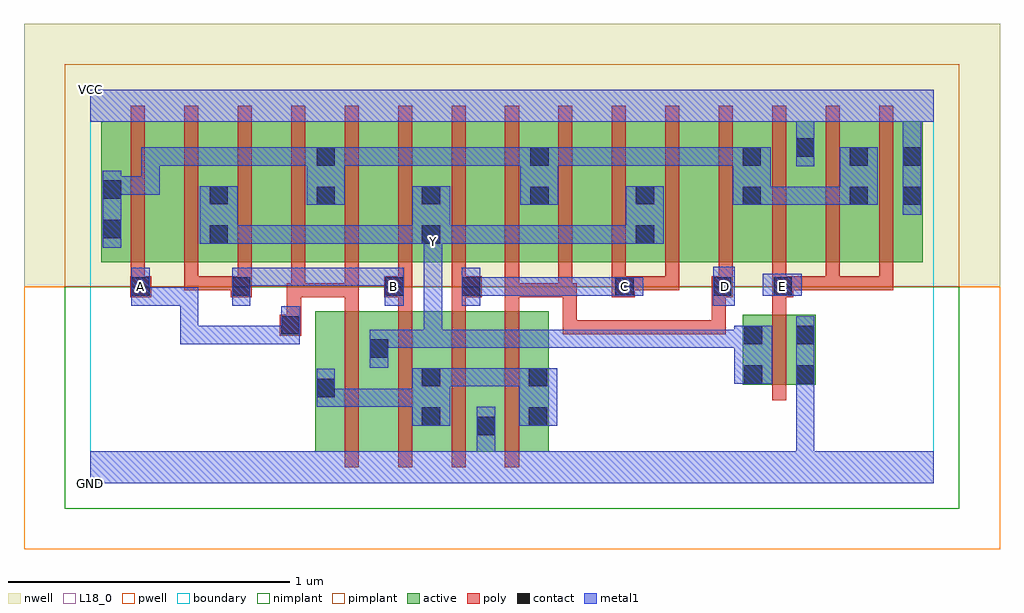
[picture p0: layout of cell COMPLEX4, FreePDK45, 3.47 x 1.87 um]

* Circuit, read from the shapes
.subckt COMPLEX4 A B C D E GND VCC Y
M1 Y A n1 VSUBS nfet w=0.5u l=0.05u
M2 n1 B Y VSUBS nfet w=0.5u l=0.05u
M3 GND C n1 VSUBS nfet w=0.5u l=0.05u
M4 n1 D GND VSUBS nfet w=0.5u l=0.05u
M5 GND E Y VSUBS nfet w=0.25u l=0.05u
M6 n2 A n3 n4 pfet w=0.5u l=0.05u
M7 Y B n2 n4 pfet w=0.5u l=0.05u
M8 n5 B Y n4 pfet w=0.5u l=0.05u
M9 n3 A n5 n4 pfet w=0.5u l=0.05u
M10 n6 A n3 n4 pfet w=0.5u l=0.05u
M11 Y B n6 n4 pfet w=0.5u l=0.05u
M12 n7 C Y n4 pfet w=0.5u l=0.05u
M13 n3 D n7 n4 pfet w=0.5u l=0.05u
M14 n8 D n3 n4 pfet w=0.5u l=0.05u
M15 Y C n8 n4 pfet w=0.5u l=0.05u
M16 n9 C Y n4 pfet w=0.5u l=0.05u
M17 n3 D n9 n4 pfet w=0.5u l=0.05u
M18 VCC E n3 n4 pfet w=0.5u l=0.05u m=3
.ends

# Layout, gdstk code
import gdstk
lib = gdstk.Library(unit=1e-6, precision=1e-09)
def R(c, l, rs):  # rectangles x0, y0, x1, y1
    for r in rs: c.add(gdstk.rectangle(r[:2], r[2:], *l))
def A(c, l, x, y, w, h, nx, ny, dx, dy):  # array of equal rectangles
    R(c, l, [(x+i*dx, y+j*dy, x+i*dx+w, y+j*dy+h) for i in range(nx) for j in range(ny)])
active = (1, 0)
pwell = (2, 0)
nwell = (3, 0)
nimplant = (4, 0)
pimplant = (5, 0)
poly = (9, 0)
contact = (10, 0)
metal1 = (11, 0)
L18_0 = (18, 0)
boundary = (235, 0)

complex4 = lib.new_cell('COMPLEX4')
A(complex4, active, 0.04, 0.787, 0.225, 0.5, 3, 1, 0.38, 0)
A(complex4, active, 2.315, 0.787, 0.265, 0.5, 3, 1, 0.19, 0)
R(complex4, active, [(0.8,0.112,1.065,0.612), (0.99,0.112,1.25,0.612), (1.175,0.112,1.445,0.612), (1.37,0.112,1.63,0.612), (1.37,0.112,1.445,0.55), (0.8,0.145,0.875,0.612), (0.99,0.145,1.065,0.592), (1.175,0.145,1.25,0.592), (1.555,0.145,1.63,0.612), (2.32,0.35,2.395,0.6), (2.32,0.35,2.58,0.6), (2.505,0.35,2.58,0.6), (0.04,0.787,0.145,1.2), (0.265,0.787,0.495,1.287), (0.42,0.787,0.495,1.07), (0.645,0.787,0.875,1.287), (0.8,0.787,0.875,1.2), (1.025,0.787,1.25,1.287), (1.175,0.787,1.405,1.287), (1.175,0.787,1.25,1.07), (1.405,0.787,1.635,1.287), (1.56,0.787,1.635,1.2), (1.56,0.787,1.785,1.287), (1.785,0.787,2.01,1.287), (1.935,0.787,2.165,1.287), (1.935,0.787,2.01,1.07), (2.165,0.787,2.39,1.287), (2.315,0.787,2.39,1.2), (2.505,0.787,2.58,1.287), (2.695,0.787,2.77,1.2), (2.885,0.787,2.96,1.287)])
R(complex4, pwell, [(-0.235,-0.235,3.235,0.7)])
R(complex4, nwell, [(-0.235,0.7,3.235,1.635)])
R(complex4, nimplant, [(-0.09,-0.09,3.09,0.7)])
R(complex4, pimplant, [(-0.09,0.7,3.09,1.49)])
A(complex4, poly, 0.905, 0.057, 0.05, 0.61, 4, 1, 0.19, 0)
A(complex4, poly, 0.905, 0.617, 0.05, 0.095, 4, 1, 0.19, 0)
A(complex4, poly, 0.145, 0.687, 0.05, 0.095, 3, 1, 0.19, 0)
A(complex4, poly, 1.855, 0.687, 0.05, 0.095, 6, 1, 0.19, 0)
A(complex4, poly, 0.145, 0.732, 0.05, 0.61, 15, 1, 0.19, 0)
R(complex4, poly, [(2.425,0.295,2.475,0.655), (0.675,0.525,0.75,0.6), (1.68,0.53,1.73,0.58), (1.68,0.53,1.73,0.712), (1.68,0.53,1.885,0.58), (1.835,0.53,1.885,0.58), (1.835,0.53,1.885,0.58), (1.835,0.53,1.885,0.58), (1.835,0.53,2.127,0.58), (2.077,0.53,2.127,0.58), (2.077,0.53,2.127,0.58), (2.077,0.53,2.127,0.58), (2.077,0.53,2.26,0.58), (2.21,0.53,2.26,0.58), (2.21,0.53,2.26,0.58), (2.21,0.53,2.26,0.58), (2.21,0.53,2.26,0.712), (0.7,0.55,0.75,0.712), (2.425,0.605,2.475,0.712), (0.142,0.662,0.217,0.737), (0.5,0.662,0.575,0.737), (0.7,0.662,0.75,0.712), (0.7,0.662,0.75,0.712), (0.7,0.662,0.765,0.712), (0.715,0.662,0.955,0.712), (0.715,0.662,0.765,0.782), (0.905,0.662,0.955,0.712), (0.905,0.662,0.955,0.712), (0.905,0.662,0.955,0.712), (0.905,0.662,0.955,0.782), (1.045,0.662,1.145,0.737), (1.285,0.662,1.392,0.737), (1.475,0.662,1.525,0.712), (1.475,0.662,1.525,0.712), (1.475,0.662,1.525,0.712), (1.475,0.662,1.715,0.712), (1.475,0.662,1.525,0.782), (1.665,0.662,1.715,0.712), (1.665,0.662,1.715,0.712), (1.665,0.662,1.715,0.782), (1.665,0.662,1.73,0.712), (1.855,0.662,1.937,0.737), (2.21,0.662,2.26,0.712), (2.21,0.662,2.26,0.712), (2.21,0.662,2.285,0.737), (2.425,0.662,2.5,0.737), (0.335,0.687,0.385,0.737), (0.335,0.687,0.55,0.737), (0.5,0.687,0.55,0.737), (0.5,0.687,0.55,0.737), (1.095,0.687,1.145,0.782), (1.285,0.687,1.335,0.782), (1.887,0.687,2.095,0.737), (2.045,0.687,2.095,0.737), (2.045,0.687,2.095,0.737), (2.045,0.687,2.095,0.737), (2.45,0.687,2.665,0.737), (2.615,0.687,2.665,0.737), (2.615,0.687,2.665,0.737), (2.615,0.687,2.665,0.737), (2.615,0.687,2.855,0.737), (2.805,0.687,2.855,0.737), (2.805,0.687,2.855,0.737), (2.805,0.687,2.855,0.737)])
R(complex4, contact, [(1.375,0.172,1.44,0.237), (1.18,0.205,1.245,0.27), (1.56,0.205,1.625,0.27), (0.805,0.307,0.87,0.372), (1.18,0.345,1.245,0.41), (1.56,0.345,1.625,0.41), (2.325,0.355,2.39,0.42), (2.51,0.355,2.575,0.42), (0.995,0.447,1.06,0.512), (2.325,0.495,2.39,0.56), (2.51,0.495,2.575,0.56), (0.68,0.53,0.745,0.595), (0.147,0.667,0.212,0.732), (0.505,0.667,0.57,0.732), (1.05,0.667,1.115,0.732), (1.322,0.667,1.387,0.732), (1.867,0.667,1.932,0.732), (2.215,0.667,2.28,0.732), (2.43,0.667,2.495,0.732), (0.425,0.852,0.49,0.917), (1.18,0.852,1.245,0.917), (1.94,0.852,2.005,0.917), (0.045,0.872,0.11,0.937), (0.805,0.99,0.87,1.055), (1.565,0.99,1.63,1.055), (2.32,0.99,2.385,1.055), (2.7,0.99,2.765,1.055), (2.89,0.99,2.955,1.055), (0.425,0.992,0.49,1.057), (1.18,0.992,1.245,1.057), (1.94,0.992,2.005,1.057), (0.045,1.012,0.11,1.077), (0.805,1.13,0.87,1.195), (1.565,1.13,1.63,1.195), (2.32,1.13,2.385,1.195), (2.7,1.13,2.765,1.195), (2.89,1.13,2.955,1.195), (2.51,1.162,2.575,1.227)])
A(complex4, metal1, 1.695, 0.482, 0.065, 0.065, 1, 3, 0, 0.185)
A(complex4, metal1, 1.695, 0.482, 0.137, 0.065, 1, 3, 0, 0.185)
A(complex4, metal1, 1.767, 0.482, 0.065, 0.065, 1, 3, 0, 0.185)
A(complex4, metal1, 1.007, 0.852, 0.203, 0.065, 3, 1, 0.38, 0)
R(complex4, metal1, [(0,0,3,0.115), (1.375,0.05,1.44,0.202), (2.51,0.05,2.575,0.115), (2.51,0.05,2.575,0.115), (2.51,0.05,2.575,0.385), (1.375,0.137,1.44,0.202), (1.375,0.137,1.44,0.202), (1.375,0.137,1.44,0.272), (1.145,0.205,1.28,0.41), (1.525,0.205,1.66,0.41), (0.805,0.272,0.87,0.337), (0.805,0.272,0.87,0.337), (0.805,0.272,0.87,0.407), (0.805,0.272,1.06,0.337), (0.995,0.272,1.06,0.337), (0.995,0.272,1.06,0.337), (0.995,0.272,1.06,0.337), (0.995,0.272,1.21,0.337), (2.51,0.32,2.575,0.595), (2.51,0.32,2.575,0.385), (2.51,0.32,2.575,0.385), (2.51,0.32,2.575,0.397), (2.51,0.332,2.575,0.397), (1.215,0.345,1.452,0.41), (1.387,0.345,1.452,0.41), (1.387,0.345,1.452,0.41), (1.387,0.345,1.452,0.41), (1.387,0.345,1.59,0.41), (1.525,0.345,1.59,0.41), (1.525,0.345,1.59,0.41), (2.29,0.355,2.425,0.56), (0.995,0.412,1.06,0.547), (0.995,0.482,1.25,0.547), (1.185,0.482,1.25,0.547), (1.185,0.482,1.25,0.547), (1.185,0.482,1.252,0.547), (1.187,0.482,1.417,0.547), (1.187,0.482,1.252,0.857), (1.352,0.482,1.417,0.547), (1.352,0.482,1.417,0.547), (1.352,0.482,1.417,0.547), (1.352,0.482,1.59,0.547), (1.525,0.482,1.59,0.547), (1.525,0.482,1.665,0.547), (1.6,0.482,1.665,0.547), (1.6,0.482,1.76,0.547), (1.767,0.482,1.97,0.547), (1.905,0.482,1.97,0.547), (1.905,0.482,1.97,0.547), (1.905,0.482,1.97,0.547), (1.905,0.482,2.107,0.547), (2.042,0.482,2.107,0.547), (2.042,0.482,2.107,0.547), (2.042,0.482,2.107,0.547), (2.042,0.482,2.28,0.547), (2.215,0.482,2.28,0.547), (2.215,0.482,2.355,0.547), (0.32,0.495,0.385,0.56), (0.32,0.495,0.525,0.56), (0.32,0.495,0.385,0.697), (0.46,0.495,0.525,0.56), (0.46,0.495,0.67,0.56), (0.605,0.495,0.67,0.56), (0.605,0.495,0.67,0.56), (0.605,0.495,0.67,0.56), (0.605,0.495,0.745,0.56), (0.68,0.495,0.745,0.63), (0.147,0.632,0.212,0.767), (0.147,0.632,0.247,0.697), (0.182,0.632,0.247,0.697), (0.182,0.632,0.385,0.697), (0.32,0.632,0.385,0.697), (0.32,0.632,0.385,0.697), (0.32,0.632,0.385,0.697), (0.505,0.632,0.57,0.767), (1.047,0.632,1.115,0.767), (1.322,0.632,1.387,0.767), (2.215,0.632,2.292,0.77), (1.322,0.667,1.417,0.732), (1.352,0.667,1.417,0.732), (1.352,0.667,1.59,0.732), (1.525,0.667,1.59,0.732), (1.525,0.667,1.59,0.732), (1.525,0.667,1.59,0.732), (1.525,0.667,1.76,0.732), (1.767,0.667,1.897,0.732), (1.832,0.667,1.967,0.732), (2.392,0.667,2.53,0.745), (0.505,0.702,0.697,0.767), (0.632,0.702,0.697,0.767), (0.632,0.702,0.707,0.767), (0.642,0.702,0.707,0.767), (0.642,0.702,0.887,0.767), (0.822,0.702,0.887,0.767), (0.822,0.702,0.887,0.767), (0.822,0.702,0.887,0.767), (0.822,0.702,1.072,0.767), (1.007,0.702,1.072,0.767), (1.007,0.702,1.112,0.767), (1.187,0.792,1.252,0.927), (0.045,0.837,0.11,1.112), (0.39,0.852,0.525,1.057), (0.46,0.852,0.525,0.917), (0.46,0.852,0.525,0.917), (0.46,0.852,0.697,0.917), (0.632,0.852,0.697,0.917), (0.632,0.852,0.707,0.917), (0.642,0.852,0.707,0.917), (0.642,0.852,0.922,0.917), (0.857,0.852,0.922,0.917), (0.857,0.852,0.922,0.917), (0.857,0.852,0.922,0.917), (0.857,0.852,1.072,0.917), (1.007,0.852,1.072,0.917), (1.145,0.852,1.21,0.917), (1.145,0.852,1.21,0.917), (1.145,0.852,1.28,1.057), (1.187,0.852,1.252,0.917), (1.215,0.852,1.452,0.917), (1.387,0.852,1.452,0.917), (1.387,0.852,1.452,0.917), (1.387,0.852,1.452,0.917), (1.525,0.852,1.59,0.917), (1.525,0.852,1.59,0.917), (1.525,0.852,1.59,0.917), (1.525,0.852,1.76,0.917), (1.905,0.852,1.97,0.917), (1.905,0.852,1.97,0.917), (1.905,0.852,2.04,1.057), (2.89,0.955,2.955,1.23), (0.77,0.99,0.905,1.195), (1.53,0.99,1.665,1.195), (2.285,0.99,2.42,1.195), (2.355,0.99,2.557,1.055), (2.492,0.99,2.557,1.055), (2.492,0.99,2.557,1.055), (2.492,0.99,2.557,1.055), (2.492,0.99,2.73,1.055), (2.665,0.99,2.73,1.055), (2.665,0.99,2.73,1.055), (2.665,0.99,2.8,1.195), (0.045,1.027,0.11,1.092), (0.045,1.027,0.11,1.092), (0.045,1.027,0.247,1.092), (0.182,1.027,0.247,1.092), (0.182,1.027,0.247,1.195), (2.51,1.127,2.575,1.262), (0.182,1.13,0.247,1.195), (0.182,1.13,0.385,1.195), (0.32,1.13,0.385,1.195), (0.32,1.13,0.522,1.195), (0.457,1.13,0.522,1.195), (0.457,1.13,0.522,1.195), (0.457,1.13,0.522,1.195), (0.457,1.13,0.697,1.195), (0.632,1.13,0.697,1.195), (0.632,1.13,0.707,1.195), (0.642,1.13,0.707,1.195), (0.642,1.13,0.835,1.195), (0.84,1.13,0.905,1.195), (0.84,1.13,0.905,1.195), (0.84,1.13,1.072,1.195), (1.007,1.13,1.072,1.195), (1.007,1.13,1.072,1.195), (1.007,1.13,1.072,1.195), (1.007,1.13,1.21,1.195), (1.145,1.13,1.21,1.195), (1.145,1.13,1.417,1.195), (1.352,1.13,1.417,1.195), (1.352,1.13,1.417,1.195), (1.352,1.13,1.417,1.195), (1.352,1.13,1.595,1.195), (1.53,1.13,1.595,1.195), (1.53,1.13,1.595,1.195), (1.6,1.13,1.76,1.195), (1.695,1.13,1.76,1.195), (1.695,1.13,1.832,1.195), (1.767,1.13,1.832,1.195), (1.767,1.13,1.97,1.195), (1.905,1.13,1.97,1.195), (1.905,1.13,1.97,1.195), (1.905,1.13,1.97,1.195), (1.905,1.13,2.142,1.195), (2.077,1.13,2.142,1.195), (2.077,1.13,2.177,1.195), (2.112,1.13,2.177,1.195), (2.112,1.13,2.177,1.195), (2.112,1.13,2.177,1.195), (2.112,1.13,2.32,1.195), (2.255,1.13,2.32,1.195), (2.255,1.13,2.35,1.195), (2.89,1.165,2.955,1.35), (2.51,1.197,2.575,1.35), (0,1.285,3,1.4)])
A(complex4, L18_0, 1.695, 0.482, 0.065, 0.065, 1, 3, 0, 0.185)
A(complex4, L18_0, 1.695, 0.482, 0.137, 0.065, 1, 3, 0, 0.185)
A(complex4, L18_0, 1.767, 0.482, 0.065, 0.065, 1, 3, 0, 0.185)
A(complex4, L18_0, 1.007, 0.852, 0.203, 0.065, 3, 1, 0.38, 0)
R(complex4, L18_0, [(0,0,3,0.115), (1.375,0.05,1.44,0.202), (2.51,0.05,2.575,0.115), (2.51,0.05,2.575,0.115), (2.51,0.05,2.575,0.385), (1.375,0.137,1.44,0.272), (1.375,0.137,1.44,0.202), (1.375,0.137,1.44,0.202), (2.51,0.32,2.575,0.385), (2.51,0.32,2.575,0.385), (2.51,0.32,2.575,0.397), (2.51,0.32,2.575,0.595), (2.51,0.332,2.575,0.397), (2.29,0.355,2.425,0.56), (0.995,0.412,1.06,0.547), (0.995,0.482,1.25,0.547), (1.185,0.482,1.25,0.547), (1.185,0.482,1.25,0.547), (1.185,0.482,1.252,0.547), (1.187,0.482,1.252,0.857), (1.187,0.482,1.417,0.547), (1.352,0.482,1.417,0.547), (1.352,0.482,1.417,0.547), (1.352,0.482,1.417,0.547), (1.352,0.482,1.59,0.547), (1.525,0.482,1.59,0.547), (1.525,0.482,1.665,0.547), (1.6,0.482,1.665,0.547), (1.6,0.482,1.76,0.547), (1.767,0.482,1.97,0.547), (1.905,0.482,1.97,0.547), (1.905,0.482,1.97,0.547), (1.905,0.482,1.97,0.547), (1.905,0.482,2.107,0.547), (2.042,0.482,2.107,0.547), (2.042,0.482,2.107,0.547), (2.042,0.482,2.107,0.547), (2.042,0.482,2.28,0.547), (2.215,0.482,2.28,0.547), (2.215,0.482,2.355,0.547), (0.32,0.495,0.385,0.56), (0.32,0.495,0.385,0.697), (0.32,0.495,0.525,0.56), (0.46,0.495,0.525,0.56), (0.46,0.495,0.67,0.56), (0.605,0.495,0.67,0.56), (0.605,0.495,0.67,0.56), (0.605,0.495,0.67,0.56), (0.605,0.495,0.745,0.56), (0.68,0.495,0.745,0.63), (0.147,0.632,0.212,0.767), (0.147,0.632,0.247,0.697), (0.182,0.632,0.247,0.697), (0.182,0.632,0.385,0.697), (0.32,0.632,0.385,0.697), (0.32,0.632,0.385,0.697), (0.32,0.632,0.385,0.697), (0.505,0.632,0.57,0.767), (1.047,0.632,1.115,0.767), (1.322,0.632,1.387,0.767), (2.215,0.632,2.292,0.77), (0.147,0.667,0.212,0.732), (1.047,0.667,1.112,0.732), (1.322,0.667,1.417,0.732), (1.352,0.667,1.417,0.732), (1.352,0.667,1.59,0.732), (1.525,0.667,1.59,0.732), (1.525,0.667,1.59,0.732), (1.525,0.667,1.59,0.732), (1.525,0.667,1.76,0.732), (1.767,0.667,1.897,0.732), (1.832,0.667,1.967,0.732), (1.867,0.667,1.932,0.732), (2.227,0.667,2.292,0.732), (2.392,0.667,2.53,0.745), (2.427,0.667,2.492,0.732), (0.505,0.702,0.697,0.767), (0.632,0.702,0.697,0.767), (0.632,0.702,0.707,0.767), (0.642,0.702,0.707,0.767), (0.642,0.702,0.887,0.767), (0.822,0.702,0.887,0.767), (0.822,0.702,0.887,0.767), (0.822,0.702,0.887,0.767), (0.822,0.702,1.072,0.767), (1.007,0.702,1.072,0.767), (1.007,0.702,1.112,0.767), (1.187,0.792,1.252,0.927), (1.187,0.827,1.252,0.892), (0.39,0.852,0.525,1.057), (0.46,0.852,0.525,0.917), (0.46,0.852,0.525,0.917), (0.46,0.852,0.697,0.917), (0.632,0.852,0.697,0.917), (0.632,0.852,0.707,0.917), (0.642,0.852,0.707,0.917), (0.642,0.852,0.922,0.917), (0.857,0.852,0.922,0.917), (0.857,0.852,0.922,0.917), (0.857,0.852,0.922,0.917), (0.857,0.852,1.072,0.917), (1.007,0.852,1.072,0.917), (1.145,0.852,1.21,0.917), (1.145,0.852,1.21,0.917), (1.145,0.852,1.28,1.057), (1.187,0.852,1.252,0.917), (1.215,0.852,1.452,0.917), (1.387,0.852,1.452,0.917), (1.387,0.852,1.452,0.917), (1.387,0.852,1.452,0.917), (1.525,0.852,1.59,0.917), (1.525,0.852,1.59,0.917), (1.525,0.852,1.59,0.917), (1.525,0.852,1.76,0.917), (1.905,0.852,1.97,0.917), (1.905,0.852,1.97,0.917), (1.905,0.852,2.04,1.057), (2.89,0.955,2.955,1.23), (2.51,1.127,2.575,1.262), (2.89,1.165,2.955,1.35), (2.51,1.197,2.575,1.35), (0,1.285,3,1.4)])
R(complex4, boundary, [(0,0,3,1.4)])
complex4.add(gdstk.Label('A', (0.18,0.7), layer=11, texttype=0))
complex4.add(gdstk.Label('B', (1.08,0.7), layer=11, texttype=0))
complex4.add(gdstk.Label('C', (1.9,0.7), layer=11, texttype=0))
complex4.add(gdstk.Label('D', (2.26,0.7), layer=11, texttype=0))
complex4.add(gdstk.Label('E', (2.46,0.7), layer=11, texttype=0))
complex4.add(gdstk.Label('Y', (1.22,0.86), layer=11, texttype=0))
complex4.add(gdstk.Label('VCC', (0,1.4), layer=11, texttype=0))
complex4.add(gdstk.Label('GND', (0,0), layer=11, texttype=0))

lib.write_gds('COMPLEX4.gds')
